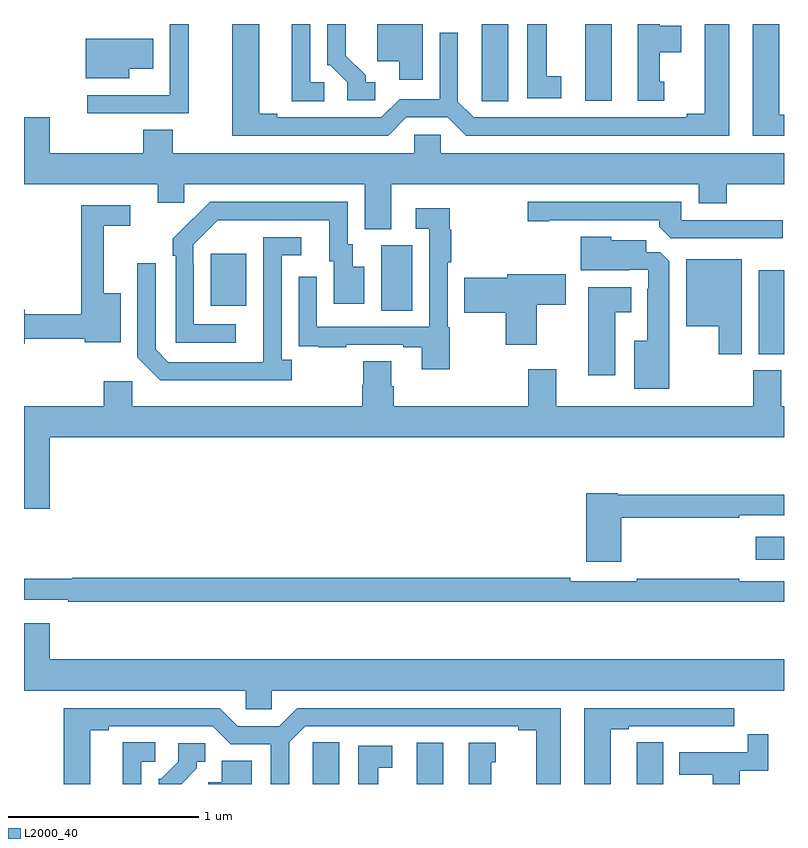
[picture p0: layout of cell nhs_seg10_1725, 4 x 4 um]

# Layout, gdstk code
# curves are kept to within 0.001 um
import gdstk
lib = gdstk.Library(unit=1e-6, precision=1e-09)
def R(c, l, rs):  # rectangles x0, y0, x1, y1
    for r in rs: c.add(gdstk.rectangle(r[:2], r[2:], *l))
def P(c, l, *ps):  # polygons
    for p in ps: c.add(gdstk.Polygon(p, *l))
L2000_40 = (2000, 40)

nhs_seg10_1725 = lib.new_cell('nhs_seg10_1725')
R(nhs_seg10_1725, L2000_40, [(203.066,1290.5,203.206,1290.718), (204.852,1291.679,205,1291.801), (204.866,1292.762,205,1293.205), (202.88,1292.992,203.044,1293.336), (201.983,1293.017,202.171,1293.292), (203.954,1294.095,204.094,1294.5)])
P(nhs_seg10_1725, L2000_40, [(203.827,1294.226),(203.752,1294.226),(203.752,1294.5),(203.648,1294.5),(203.648,1294.11),(203.827,1294.11)],
  [(203.013,1294.008),(203.231,1294.008),(203.327,1293.912),(204.712,1293.912),(204.712,1294.5),(204.584,1294.5),(204.584,1294.028),(204.488,1294.028),(204.488,1294.008),(203.367,1294.008),(203.283,1294.092),(203.283,1294.453),(203.187,1294.453),(203.187,1294.104),(202.977,1294.104),(202.881,1294.008),(202.333,1294.008),(202.333,1294.028),(202.237,1294.028),(202.237,1294.5),(202.097,1294.5),(202.097,1293.912),(202.917,1293.912)],
  [(202.579,1294.194),(202.506,1294.194),(202.506,1294.5),(202.409,1294.5),(202.409,1294.093),(202.579,1294.093)],
  [(201.867,1294.5),(201.768,1294.5),(201.768,1294.126),(201.767,1294.126),(201.767,1294.125),(201.333,1294.125),(201.333,1294.029),(201.867,1294.029)],
  [(204.37,1294.197),(204.346,1294.197),(204.346,1294.352),(204.46,1294.352),(204.46,1294.492),(204.346,1294.492),(204.346,1294.5),(204.23,1294.5),(204.23,1294.095),(204.37,1294.095)],
  [(202.849,1294.194),(202.798,1294.194),(202.798,1294.229),(202.693,1294.334),(202.693,1294.5),(202.596,1294.5),(202.596,1294.284),(202.611,1294.284),(202.701,1294.194),(202.701,1294.098),(202.849,1294.098)],
  [(203.548,1294.5),(203.408,1294.5),(203.408,1294.201),(203.409,1294.201),(203.409,1294.093),(203.548,1294.093)],
  [(205,1294.023),(204.976,1294.023),(204.976,1294.5),(204.836,1294.5),(204.836,1293.912),(205,1293.912)],
  [(203.098,1294.5),(202.859,1294.5),(202.859,1294.304),(202.976,1294.304),(202.976,1294.206),(203.098,1294.206)],
  [(201.553,1294.265),(201.679,1294.265),(201.679,1294.423),(201.326,1294.423),(201.326,1294.214),(201.553,1294.214)],
  [(202.933,1293.656),(204.551,1293.656),(204.551,1293.557),(204.699,1293.557),(204.699,1293.656),(205,1293.656),(205,1293.82),(203.193,1293.82),(203.193,1293.918),(203.055,1293.918),(203.055,1293.82),(201.783,1293.82),(201.783,1293.944),(201.628,1293.944),(201.628,1293.82),(201.136,1293.82),(201.136,1294.009),(201,1294.009),(201,1293.656),(201.704,1293.656),(201.704,1293.558),(201.843,1293.558),(201.843,1293.656),(202.793,1293.656),(202.793,1293.421),(202.933,1293.421)],
  [(202.114,1292.919),(201.894,1292.919),(201.894,1293.239),(201.891,1293.239),(201.891,1293.339),(202.02,1293.468),(202.607,1293.468),(202.607,1293.252),(202.631,1293.252),(202.631,1293.027),(202.792,1293.027),(202.792,1293.223),(202.729,1293.223),(202.729,1293.342),(202.704,1293.342),(202.704,1293.564),(201.98,1293.564),(201.783,1293.369),(201.783,1293.281),(201.798,1293.281),(201.798,1292.823),(202.114,1292.823)],
  [(204.994,1293.468),(204.459,1293.468),(204.459,1293.564),(203.652,1293.564),(203.652,1293.463),(203.764,1293.463),(203.764,1293.468),(204.344,1293.468),(204.344,1293.434),(204.405,1293.372),(204.994,1293.372)],
  [(201.004,1292.844),(201.32,1292.844),(201.32,1292.825),(201.508,1292.825),(201.508,1293.082),(201.419,1293.082),(201.419,1293.438),(201.559,1293.438),(201.559,1293.546),(201.301,1293.546),(201.301,1292.972),(201.004,1292.972),(201.004,1292.996),(201,1292.996),(201,1292.818),(201.004,1292.818)],
  [(203.242,1292.904),(203.229,1292.904),(203.229,1293.247),(203.249,1293.247),(203.249,1293.416),(203.242,1293.416),(203.242,1293.529),(203.061,1293.529),(203.061,1293.423),(203.133,1293.423),(203.133,1292.907),(202.542,1292.907),(202.542,1293.169),(202.446,1293.169),(202.446,1292.914),(202.447,1292.914),(202.447,1292.805),(202.549,1292.805),(202.549,1292.799),(202.697,1292.799),(202.697,1292.811),(202.997,1292.811),(202.997,1292.799),(203.093,1292.799),(203.093,1292.682),(203.242,1292.682)],
  [(204.397,1293.251),(204.348,1293.3),(204.274,1293.3),(204.274,1293.361),(204.09,1293.361),(204.09,1293.379),(203.93,1293.379),(203.93,1293.203),(204.185,1293.203),(204.185,1293.207),(204.285,1293.207),(204.285,1293.107),(204.281,1293.107),(204.281,1292.833),(204.212,1292.833),(204.212,1292.579),(204.397,1292.579)],
  [(202.408,1292.734),(202.356,1292.734),(202.356,1293.282),(202.459,1293.282),(202.459,1293.378),(202.26,1293.378),(202.259,1292.721),(201.759,1292.721),(201.693,1292.787),(201.693,1293.241),(201.597,1293.241),(201.597,1292.745),(201.718,1292.624),(202.408,1292.624)],
  [(204.778,1293.262),(204.485,1293.262),(204.485,1292.909),(204.656,1292.909),(204.656,1292.763),(204.778,1292.763)],
  [(203.698,1293.022),(203.851,1293.022),(203.851,1293.184),(203.543,1293.184),(203.543,1293.164),(203.316,1293.164),(203.316,1292.981),(203.536,1292.981),(203.536,1292.811),(203.698,1292.811)],
  [(204.112,1292.984),(204.196,1292.984),(204.196,1293.115),(203.969,1293.115),(203.969,1292.652),(204.112,1292.652)],
  [(201.136,1292.324),(205,1292.324),(205,1292.488),(204.985,1292.488),(204.985,1292.677),(204.838,1292.677),(204.838,1292.488),(203.8,1292.488),(203.8,1292.683),(203.653,1292.683),(203.653,1292.488),(202.946,1292.488),(202.946,1292.594),(202.933,1292.594),(202.933,1292.726),(202.786,1292.726),(202.786,1292.601),(202.781,1292.601),(202.781,1292.488),(201.57,1292.488),(201.57,1292.62),(201.419,1292.62),(201.419,1292.488),(201,1292.488),(201,1291.95),(201.136,1291.95)],
  [(204.143,1291.902),(204.764,1291.902),(204.764,1291.914),(205,1291.914),(205,1292.023),(204.126,1292.023),(204.126,1292.031),(203.96,1292.031),(203.96,1291.671),(204.143,1291.671)],
  [(205,1291.566),(204.764,1291.566),(204.764,1291.579),(204.226,1291.579),(204.226,1291.566),(203.876,1291.566),(203.876,1291.586),(201.255,1291.586),(201.255,1291.579),(201,1291.579),(201,1291.47),(201.232,1291.47),(201.232,1291.458),(205,1291.458)],
  [(202.305,1290.992),(205,1290.992),(205,1291.156),(201.136,1291.156),(201.136,1291.345),(201,1291.345),(201,1290.992),(202.167,1290.992),(202.167,1290.894),(202.305,1290.894)],
  [(201.349,1290.784),(201.445,1290.784),(201.445,1290.804),(201.993,1290.804),(202.089,1290.708),(202.299,1290.708),(202.299,1290.5),(202.395,1290.5),(202.395,1290.72),(202.479,1290.804),(203.6,1290.804),(203.6,1290.784),(203.696,1290.784),(203.696,1290.5),(203.824,1290.5),(203.824,1290.9),(202.439,1290.9),(202.343,1290.804),(202.125,1290.804),(202.029,1290.9),(201.209,1290.9),(201.209,1290.5),(201.349,1290.5)],
  [(204.088,1290.789),(204.184,1290.789),(204.184,1290.804),(204.46,1290.804),(204.46,1290.803),(204.626,1290.803),(204.626,1290.804),(204.739,1290.804),(204.739,1290.9),(203.948,1290.9),(203.948,1290.5),(204.088,1290.5)],
  [(204.766,1290.57),(204.917,1290.57),(204.917,1290.763),(204.808,1290.763),(204.808,1290.666),(204.449,1290.666),(204.449,1290.55),(204.626,1290.55),(204.626,1290.5),(204.766,1290.5)],
  [(201.618,1290.618),(201.691,1290.618),(201.691,1290.719),(201.521,1290.719),(201.521,1290.5),(201.618,1290.5)],
  [(202.66,1290.719),(202.521,1290.719),(202.521,1290.611),(202.52,1290.611),(202.52,1290.5),(202.66,1290.5)],
  [(204.364,1290.719),(204.225,1290.719),(204.225,1290.611),(204.224,1290.611),(204.224,1290.5),(204.364,1290.5)],
  [(203.458,1290.615),(203.482,1290.615),(203.482,1290.718),(203.342,1290.718),(203.342,1290.5),(203.458,1290.5)],
  [(201.91,1290.583),(201.91,1290.618),(201.955,1290.618),(201.955,1290.714),(201.813,1290.714),(201.813,1290.618),(201.723,1290.528),(201.708,1290.528),(201.708,1290.5),(201.827,1290.5)],
  [(202.864,1290.586),(202.939,1290.586),(202.939,1290.702),(202.76,1290.702),(202.76,1290.5),(202.864,1290.5)],
  [(202.198,1290.623),(202.04,1290.623),(202.04,1290.508),(201.971,1290.508),(201.971,1290.5),(202.198,1290.5)])

lib.write_gds('nhs_seg10_1725.gds')
